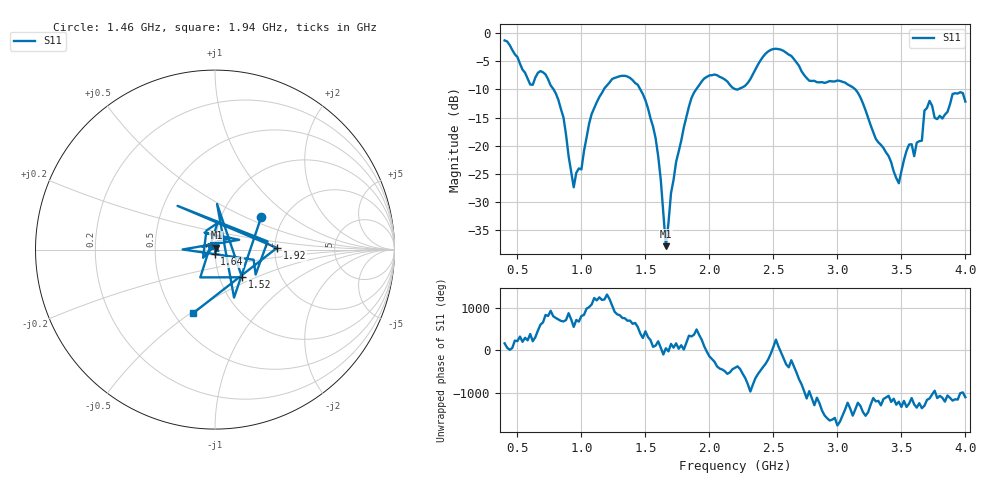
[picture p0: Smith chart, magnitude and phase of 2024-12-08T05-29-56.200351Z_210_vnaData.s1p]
!Created with skrf (http://scikit-rf.org).
# Hz S RI R 50.0
!freq ReS11 ImS11
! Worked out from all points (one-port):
!   181 points, 400 MHz to 4 GHz, reference 50 ohm
!   lowest |S11| = -37.8 dB at 1.66 GHz (marker M1), VSWR 1.03, Z = 50.8 + j1.04 ohm
!   |S11| at or under -10 dB: 782.7 MHz to 1.175 GHz (392.4 MHz wide, 40.1 % of centre); 1.461 GHz to 1.896 GHz (435.6 MHz wide, 26 % of centre); 3.141 GHz to end of sweep (the widest 3 of 4)
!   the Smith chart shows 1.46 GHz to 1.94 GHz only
!   S11 on the Smith chart (normalised r, x): 1.46 GHz: 1.54, +0.63; 1.52 GHz: 1.28, -0.41; 1.64 GHz: 1.00, -0.05; 1.92 GHz: 2.05, +0.04; 1.94 GHz: 0.62, -0.51
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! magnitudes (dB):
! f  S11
! 400 MHz  -1.3
! 600 MHz  -9.1
! 720 MHz  -7.3
! 860 MHz  -15.0
! 940 MHz  -27.4
! 1.08 GHz  -14.3
! 1.3 GHz  -7.6
! 1.46 GHz  -10.0
! 1.52 GHz  -13.3
! 1.58 GHz  -18.7
! 1.64 GHz  -32.0
! 1.66 GHz  -37.8
! 1.7 GHz  -28.4
! 1.76 GHz  -21.0
! 1.92 GHz  -9.2
! 1.94 GHz  -8.6
! 2.2 GHz  -9.9
! 2.48 GHz  -3.0
! 2.66 GHz  -4.6
! 3.1 GHz  -9.3
! 3.48 GHz  -26.6
! 3.56 GHz  -19.8
! 3.66 GHz  -19.1
! 3.68 GHz  -13.8
! 3.72 GHz  -12.0
! 3.78 GHz  -15.3
! 3.9 GHz  -10.8
! 4 GHz  -12.2
